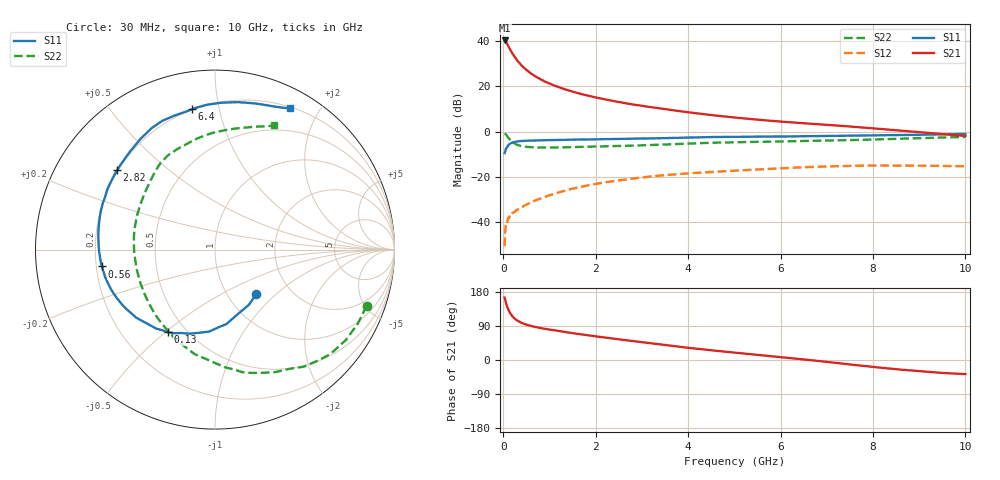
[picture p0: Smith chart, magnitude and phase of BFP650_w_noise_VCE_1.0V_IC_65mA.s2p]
! Infineon Technologies  Discrete & RF Semiconductors
! BFP650
! VCE =  1.0 V,  IC =  65 mA
! Common Emitter S-Parameters:  Jan 2016
# GHz  S  MA  R  50
!  f  S11  S21  S12  S22
! GHz  MAG  ANG  MAG  ANG  MAG  ANG  MAG  ANG
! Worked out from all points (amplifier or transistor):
!   229 points, 30 MHz to 10 GHz, reference 50 ohm
!   highest |S21| = 40.2 dB at 30 MHz (marker M1)
!   |S21| within 3 dB of that: start of sweep to 123.2 MHz
!   unconditionally stable (mu >= 1): 1.599 GHz to end of sweep
!   at 280 MHz: K = 0.56, MSG = 33.4 dB, |S12| = -34.7 dB
!   at 1.78 GHz: K = 1.01, MAG = 19.4 dB, |S12| = -23.9 dB
!   at 10 GHz: K = 1.03, MAG = 5.5 dB, |S12| = -15.2 dB
!   lowest NFmin = 1.11 dB at 450 MHz
!   S11 on the Smith chart (normalised r, x): 30 MHz: 1.35, -0.76; 130 MHz: 0.40, -0.51; 560 MHz: 0.22, -0.07; 2.82 GHz: 0.20, +0.34; 6.4 GHz: 0.20, +0.83; 10 GHz: 0.21, +1.65
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0.03  0.3381 -47.4  102.8 164.9  0.003 88.2  0.901 -20.4
0.04  0.3612 -58.6  101.5 159.8  0.0057 83.2  0.8966 -27.1
0.05  0.3826 -71.1  97.97 154.8  0.0075 62.5  0.8868 -34.5
0.06  0.4199 -81.3  95.96 150.8  0.0099 52.5  0.8674 -42.1
0.08  0.4574 -93.9  88.62 142.7  0.0097 72.4  0.8187 -52.8
0.1  0.4901 -107.1  81.24 136.0  0.0121 59.0  0.7619 -63.5
0.13  0.5297 -119.7  70.67 127.7  0.0126 54.3  0.6994 -77.5
0.15  0.5483 -126.5  64.84 123.5  0.0141 57.0  0.6594 -84.9
0.2  0.5803 -139.2  52.9 114.8  0.0161 52.5  0.5935 -101.0
0.26  0.6009 -149.1  42.76 107.9  0.0176 52.5  0.5402 -115.1
0.38  0.623 -161.2  30.2 99.0  0.0206 51.1  0.4868 -134.6
0.56  0.6369 -171.5  20.78 91.3  0.0265 54.6  0.4584 -152.0
0.7  0.6434 -177.0  16.49 86.9  0.0306 55.0  0.4511 -161.4
1  0.6538 174.3  11.52 80.2  0.0396 56.1  0.4487 -174.9
1.7  0.6734 159.7  6.737 67.5  0.0616 53.1  0.4621 166.1
2.82  0.7017 141.0  3.969 49.7  0.0935 41.6  0.4941 144.5
3.4  0.7193 132.2  3.246 41.1  0.108 35.1  0.518 135.6
5.1  0.7757 111.2  2.012 18.3  0.14 17.8  0.589 115.2
6.4  0.7928 99.2  1.567 2.8  0.1631 5.1  0.6219 100.6
6.8  0.8025 95.2  1.47 -2.3  0.169 0.6  0.6331 96.9
8.4  0.8414 75.9  1.1 -23.1  0.1796 -17.2  0.6897 78.8
10  0.8928 61.9  0.809 -37.2  0.1733 -29.6  0.7672 64.4
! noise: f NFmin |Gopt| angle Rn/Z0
0.45  1.11  0.47  -171  0.06
0.9  1.13  0.48  -166  0.06
1.9  1.27  0.5  -151  0.07
2.4  1.35  0.48  -142  0.09
3.5  1.56  0.5  -118  0.16
